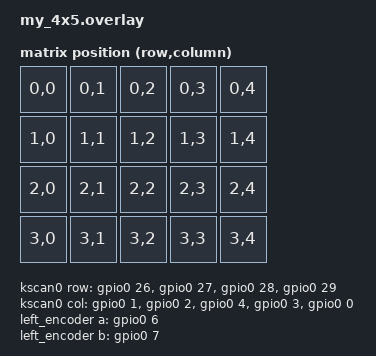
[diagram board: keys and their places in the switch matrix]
#include <dt-bindings/zmk/matrix_transform.h>

/ {
    chosen {
        zmk,kscan = &kscan0;
        zmk,matrix-transform = &default_transform;
        //zmk,physical-layout = &physical_layout0;
    };

    physical_layout0: physical_layout_0 {
        compatible = "zmk,physical-layout";
        display-name = "Default Layout";
        transform = <&default_transform>;
        kscan = <&kscan0>;

        /* 'lacks binding' 에러를 해결하기 위해, 별도의 참조 노드 없이 
           좌표 값을 직접 나열하는 배열 방식을 사용하거나, 
           아래와 같이 표준 레이블을 엄격하게 준수해야 합니다.
        */
        keys
            = <&key_0 0 0>,   <&key_0 100 0>,   <&key_0 200 0>,   <&key_0 300 0>,   <&key_0 400 0>
            , <&key_0 0 100>, <&key_0 100 100>, <&key_0 200 100>, <&key_0 300 100>, <&key_0 400 100>
            , <&key_0 0 200>, <&key_0 100 200>, <&key_0 200 200>, <&key_0 300 200>, <&key_0 400 200>
            , <&key_0 0 300>, <&key_0 100 300>, <&key_0 200 300>, <&key_0 300 300>, <&key_0 400 300>
            ;
    };

    /* 노드 이름을 시스템 예약어와 겹치지 않게 'key_0'로 단순화하고, 
       반드시 루트(/) 경로 바로 아래에 정의하세요. 
    */
    key_0: key_0 {
        compatible = "zmk,physical-layout-key";
        #key-cells = <2>;
    };

    default_transform: matrix_transform {
        compatible = "zmk,matrix-transform";
        columns = <5>;
        rows = <4>;
        map = <
            RC(0,0) RC(0,1) RC(0,2) RC(0,3) RC(0,4)
            RC(1,0) RC(1,1) RC(1,2) RC(1,3) RC(1,4)
            RC(2,0) RC(2,1) RC(2,2) RC(2,3) RC(2,4)
            RC(3,0) RC(3,1) RC(3,2) RC(3,3) RC(3,4)
        >;
    };

    kscan0: kscan_0 {
        compatible = "zmk,kscan-gpio-matrix";
        diode-direction = "col2row";

        row-gpios
            = <&gpio0 26 (GPIO_ACTIVE_HIGH | GPIO_PULL_DOWN)>
            , <&gpio0 27 (GPIO_ACTIVE_HIGH | GPIO_PULL_DOWN)>
            , <&gpio0 28 (GPIO_ACTIVE_HIGH | GPIO_PULL_DOWN)>
            , <&gpio0 29 (GPIO_ACTIVE_HIGH | GPIO_PULL_DOWN)>
            ;

        col-gpios
            = <&gpio0 1 GPIO_ACTIVE_HIGH>
            , <&gpio0 2 GPIO_ACTIVE_HIGH>
            , <&gpio0 4 GPIO_ACTIVE_HIGH>
            , <&gpio0 3 GPIO_ACTIVE_HIGH>
            , <&gpio0 0 GPIO_ACTIVE_HIGH>
            ;
    };

    left_encoder: encoder_left {
        compatible = "alps,ec11";
        a-gpios = <&gpio0 6 (GPIO_ACTIVE_LOW | GPIO_PULL_UP)>;
        b-gpios = <&gpio0 7 (GPIO_ACTIVE_LOW | GPIO_PULL_UP)>;
        steps = <48>;
        status = "okay";
    };

    sensors: sensors {
        compatible = "zmk,keymap-sensors";
        sensors = <&left_encoder>;
        triggers-per-rotation = <24>;
    };
};
